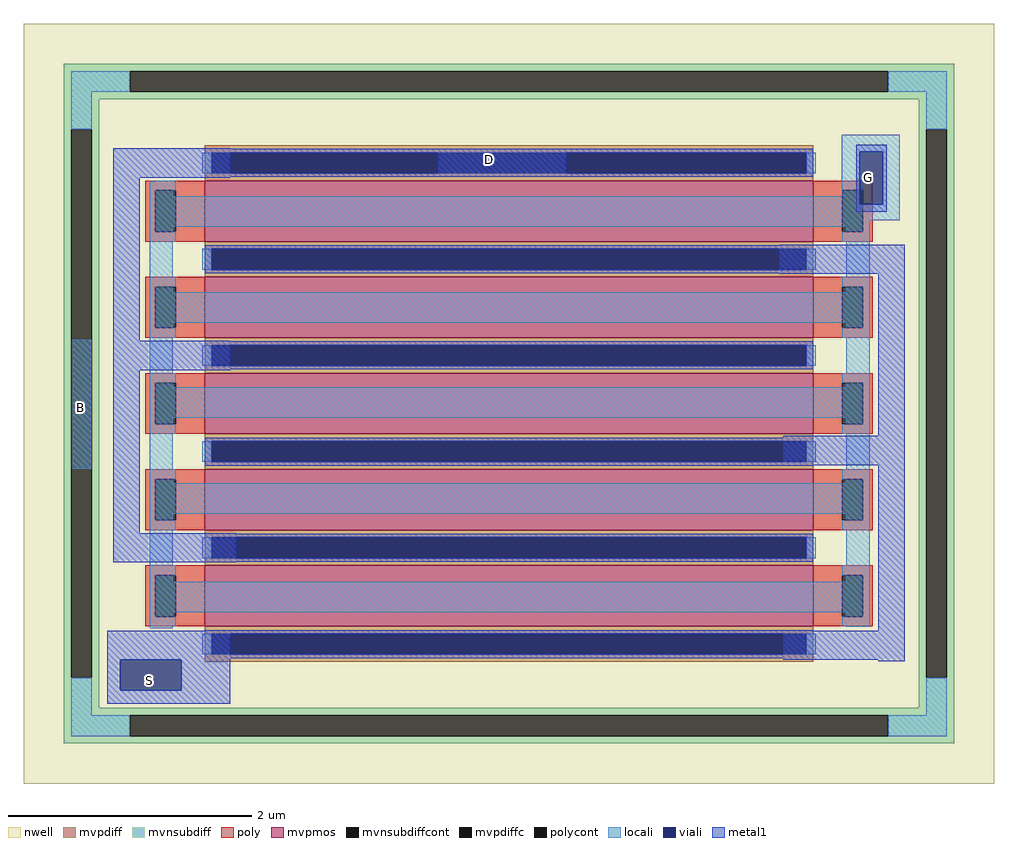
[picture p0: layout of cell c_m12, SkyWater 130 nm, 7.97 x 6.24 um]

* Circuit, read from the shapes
.subckt c_m12 D G S B
XM1 D G S B sky130_fd_pr__pfet_g5v0d10v5 w=5 l=0.5 m=5
.ends

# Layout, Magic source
magic
tech sky130A
magscale 1 2
<< locali >>
rect 1248 942 1344 970
rect 112 869 150 894
rect 1248 869 1278 942
rect 112 856 1278 869
rect 1316 856 1344 942
rect 112 830 1344 856
rect 112 819 1294 830
rect 112 712 150 819
rect 1256 712 1294 819
rect 112 662 1294 712
rect -14 422 16 634
rect 112 556 150 662
rect 1256 556 1294 662
rect 112 506 1294 556
rect 112 398 150 506
rect 1256 398 1294 506
rect 112 348 1294 398
rect 112 236 150 348
rect 1256 236 1294 348
rect 112 186 1294 236
rect 112 160 150 186
rect 1256 162 1294 186
<< viali >>
rect 1278 856 1316 942
rect 64 58 164 108
<< metal1 >>
rect 52 900 244 948
rect 1272 942 1322 954
rect 586 908 796 940
rect 52 632 96 900
rect 1272 856 1278 942
rect 1316 856 1322 942
rect 1272 844 1322 856
rect 1146 742 1352 790
rect 52 584 244 632
rect 52 316 96 584
rect 1308 476 1352 742
rect 1152 428 1352 476
rect 52 268 254 316
rect 1308 156 1352 428
rect 42 108 244 156
rect 1152 108 1352 156
rect 42 58 64 108
rect 164 58 244 108
rect 1308 106 1352 108
rect 42 36 244 58
use sky130_fd_pr__pfet_g5v0d10v5_P5TLZE  sky130_fd_pr__pfet_g5v0d10v5_P5TLZE_0
transform 0 1 702 -1 0 529
box -624 -797 624 797
<< labels >>
flabel metal1 670 930 670 930 0 FreeSans 800 0 0 0 D
port 0 nsew
flabel viali 1292 900 1292 900 0 FreeSans 800 0 0 0 G
port 1 nsew
flabel viali 112 74 112 74 0 FreeSans 800 0 0 0 S
port 2 nsew
flabel locali -2 522 -2 522 0 FreeSans 800 0 0 0 B
port 3 nsew
<< end >>

# cell sky130_fd_pr__pfet_g5v0d10v5_P5TLZE: kit device sky130_fd_pr__pfet_g5v0d10v5, w 5 l 0.5 m 1 nf 5 diffcov 100 polycov 100 guard 1 glc 1 grc 1 gtc 1 gbc 1 tbcov 100 rlcov 100 topc 1 botc 1 poverlap 0 doverlap 1 lmin 0.50 wmin 0.42 class mosfet compatible {sky130_fd_pr__pfet_01v8 sky130_fd_pr__pfet_01v8_lvt sky130_fd_pr__pfet_01v8_hvt sky130_fd_pr__pfet_g5v0d10v5} full_metal 1 conn_gates 0 viasrc 100 viadrn 100 viagate 100 viagb 0 viagr 0 viagl 0 viagt 0 doports 1
